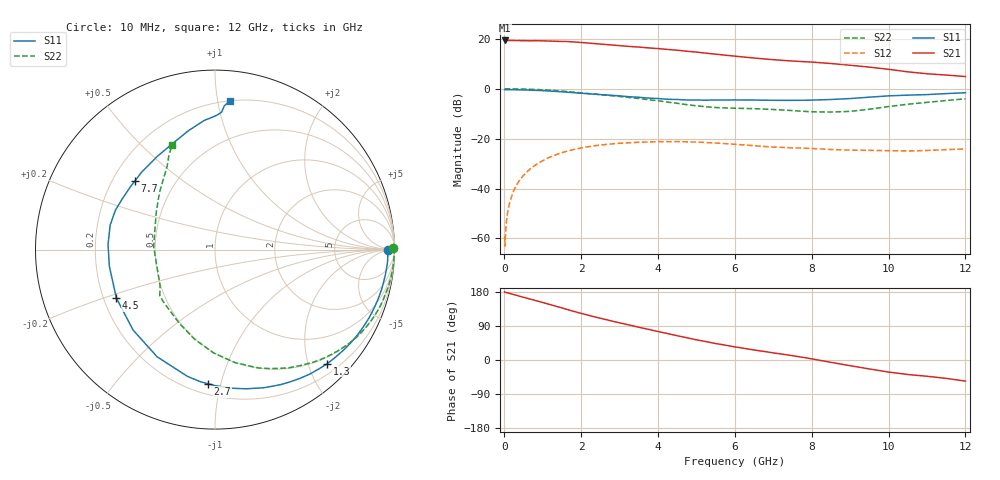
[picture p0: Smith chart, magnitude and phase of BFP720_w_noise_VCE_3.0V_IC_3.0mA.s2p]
! Infineon Technologies  Discrete & RF Semiconductors
! BFP720
! VCE =  3.0 V,  IC =  3.0 mA
! Common Emitter S-Parameters:  Aug 2012
# GHz  S  MA  R  50
!  f  S11  S21  S12  S22
! GHz  MAG  ANG  MAG  ANG  MAG  ANG  MAG  ANG
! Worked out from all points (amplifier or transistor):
!   105 points, 10 MHz to 12 GHz, reference 50 ohm
!   highest |S21| = 19.4 dB at 10 MHz (marker M1)
!   |S21| within 3 dB of that: start of sweep to 3.77 GHz
!   unconditionally stable (mu >= 1): 7.082 GHz to 11.64 GHz
!   at 300 MHz: K = 0.04, MSG = 29.2 dB, |S12| = -39.2 dB
!   at 3.6 GHz: K = 0.37, MSG = 19.0 dB, |S12| = -21.4 dB
!   at 12 GHz: K = 0.84, MSG = 14.5 dB, |S12| = -24.2 dB
!   lowest NFmin = 0.36 dB at 450 MHz
!   S11 on the Smith chart (normalised r, x): 10 MHz: 56, -3; 1.3 GHz: 0.38, -2.34; 2.7 GHz: 0.27, -0.91; 4.5 GHz: 0.25, -0.22; 7.7 GHz: 0.29, +0.34; 12 GHz: 0.20, +1.09
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0.01  0.9647 -0.1  9.322 180.0  0.0011 -26.2  0.9912 0.5
0.02  0.9637 -0.6  9.204 178.9  0.0007 76.6  0.9984 -0.4
0.06  0.9633 -2.0  9.307 177.8  0.0023 87.5  0.9978 -1.5
0.14  0.963 -4.7  9.306 175.7  0.0052 85.8  0.998 -3.4
0.35  0.9558 -11.7  9.249 169.8  0.0128 82.0  0.9932 -8.5
0.8  0.9323 -27.3  9.222 157.4  0.0292 71.9  0.9711 -19.7
1.3  0.8917 -45.4  9.019 143.2  0.0462 59.8  0.9248 -32.3
1.7  0.8478 -60.2  8.812 131.5  0.0578 50.1  0.8722 -42.1
2.1  0.804 -73.9  8.365 120.5  0.0672 40.9  0.8166 -51.2
2.7  0.7484 -93.0  7.668 105.3  0.0773 28.6  0.7383 -63.8
3.5  0.6788 -118.4  6.882 86.4  0.0851 14.4  0.6398 -79.9
4.1  0.6292 -139.0  6.305 73.0  0.0872 4.8  0.5617 -92.9
4.5  0.6122 -153.8  5.945 64.0  0.0876 -1.2  0.512 -102.8
5  0.5959 -170.9  5.453 53.2  0.0857 -8.3  0.4567 -115.7
5.5  0.5967 177.3  4.956 43.4  0.082 -14.3  0.4219 -127.1
6.1  0.5981 165.2  4.439 33.1  0.0763 -19.6  0.4064 -136.4
7  0.5888 151.2  3.838 18.8  0.0679 -23.5  0.3852 -142.8
7.7  0.5878 139.4  3.533 8.1  0.0648 -24.8  0.3574 -150.0
8.5  0.6105 122.0  3.216 -6.1  0.0607 -26.4  0.3421 177.3
9.5  0.6797 102.4  2.724 -23.6  0.0584 -25.2  0.3895 147.0
10.5  0.7467 89.5  2.19 -38.3  0.0568 -24.1  0.4911 125.6
12  0.8339 84.2  1.763 -55.6  0.062 -24.0  0.6293 112.4
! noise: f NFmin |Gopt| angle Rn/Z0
0.45  0.36  0.64  5  0.2
1.8  0.5  0.57  28  0.16
2.4  0.56  0.45  71  0.19
5.5  0.77  0.32  80  0.12
10  1.12  0.43  -102  0.21
